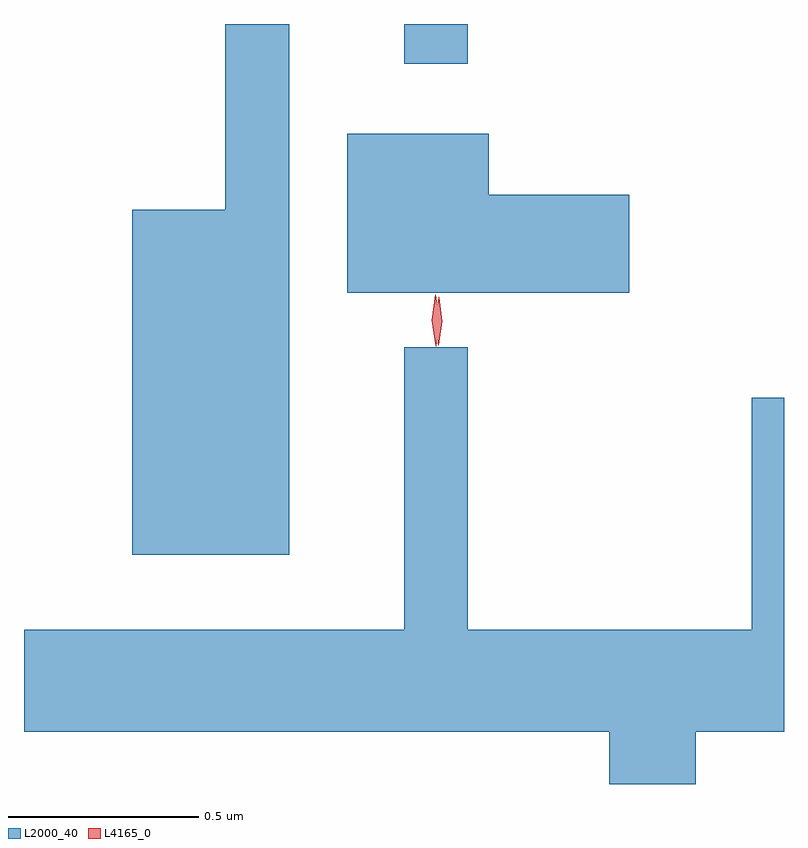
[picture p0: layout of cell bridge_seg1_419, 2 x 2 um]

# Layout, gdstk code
import gdstk
lib = gdstk.Library(unit=1e-6, precision=1e-09)
def R(c, l, rs):  # rectangles x0, y0, x1, y1
    for r in rs: c.add(gdstk.rectangle(r[:2], r[2:], *l))
def P(c, l, *ps):  # polygons
    for p in ps: c.add(gdstk.Polygon(p, *l))
L2000_40 = (2000, 40)
L4165_0 = (4165, 0)

bridge_seg1_419 = lib.new_cell('bridge_seg1_419')
R(bridge_seg1_419, L2000_40, [(433.941,970.153,434.109,970.258)])
P(bridge_seg1_419, L2000_40, [(433.639,970.258),(433.471,970.258),(433.471,969.769),(433.226,969.769),(433.226,968.861),(433.639,968.861)],
  [(434.534,969.809),(434.164,969.809),(434.164,969.969),(433.791,969.969),(433.791,969.551),(434.534,969.551)],
  [(434.709,968.396),(434.941,968.396),(434.941,969.274),(434.856,969.274),(434.856,968.664),(434.109,968.664),(434.109,969.408),(433.941,969.408),(433.941,968.664),(432.941,968.664),(432.941,968.396),(434.481,968.396),(434.481,968.258),(434.709,968.258)])
P(bridge_seg1_419, L4165_0, [(434.024,969.41),(434.014,969.478),(434.023,969.546),(434.024,969.546),(434.024,969.546),(434.034,969.478),(434.026,969.41),(434.025,969.41)],
  [(434.031,969.413),(434.031,969.413),(434.022,969.476),(434.033,969.539),(434.033,969.54),(434.034,969.539),(434.042,969.476),(434.032,969.413)])

lib.write_gds('bridge_seg1_419.gds')
